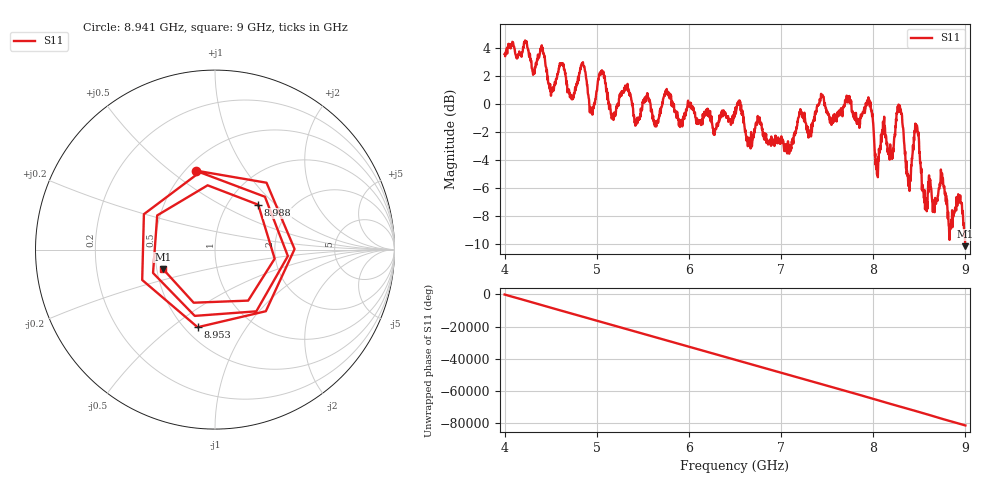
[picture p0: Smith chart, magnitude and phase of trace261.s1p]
! Created with skrf 1.8.0 (http://scikit-rf.org).
# Hz S RI R 50.0
!freq ReS11 ImS11
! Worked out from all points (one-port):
!   1601 points, 4 GHz to 9 GHz, reference 50 ohm
!   lowest |S11| = -10.2 dB at 9 GHz (marker M1), VSWR 1.90, Z = 27 - j6.39 ohm
!   |S11| at or under -10 dB: 8.997865 GHz to end of sweep
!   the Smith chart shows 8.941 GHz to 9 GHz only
!   S11 on the Smith chart (normalised r, x): 8.941 GHz: 0.56, +0.62; 8.953 GHz: 0.58, -0.62; 8.988 GHz: 1.38, +0.78; 9 GHz: 0.54, -0.13
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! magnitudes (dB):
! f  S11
! 4 GHz  3.5
! 4.409 GHz  3.8
! 4.512 GHz  0.9
! 4.625 GHz  2.8
! 4.734 GHz  0.5
! 4.853 GHz  2.8
! 4.944 GHz  -0.5
! 5.05 GHz  2.3
! 5.175 GHz  -0.8
! 5.25 GHz  0.7
! 5.875 GHz  -0.8
! 6.5 GHz  -0.8
! 7.125 GHz  -2.5
! 7.75 GHz  0.0
! 7.959 GHz  -0.1
! 8.041 GHz  -5.1
! 8.109 GHz  -1.7
! 8.197 GHz  -3.9
! 8.288 GHz  -0.1
! 8.375 GHz  -5.0
! 8.472 GHz  -1.5
! 8.562 GHz  -7.5
! 8.747 GHz  -5.0
! 8.834 GHz  -9.0
! 8.941 GHz  -6.9
! 8.953 GHz  -7.1
! 8.988 GHz  -9.2
! 9 GHz  -10.2
